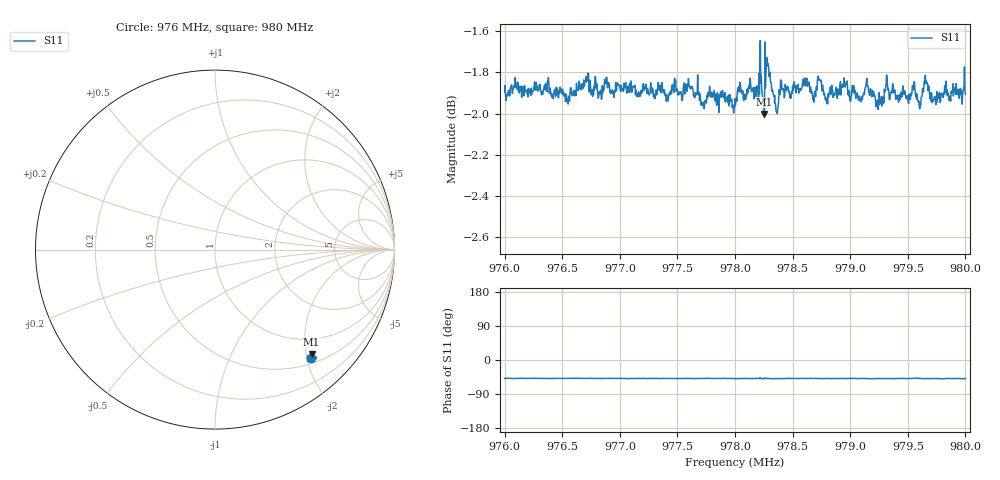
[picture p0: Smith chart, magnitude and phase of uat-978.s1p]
! Calibrated averaged scanner-service zoom
# Hz S RI R 50
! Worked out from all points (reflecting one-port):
!   1001 points, 976 MHz to 980 MHz, reference 50 ohm
!   lowest |S11| = -2.0 dB at 978.256 MHz (marker M1), VSWR 8.71, Z = 33.3 - j105 ohm
!   phase of S11 starts at -49 deg and turns -0 deg over the sweep
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9.76e8  0.5323 -0.6026
9.765e8  0.529 -0.6043
9.77e8  0.5345 -0.6038
9.77072e8  0.5262 -0.6078
9.775e8  0.5309 -0.6055
9.77676e8  0.531 -0.6139
9.77736e8  0.529 -0.5977
9.77796e8  0.5267 -0.6073
9.78e8  0.5226 -0.6069
9.78184e8  0.5271 -0.6042
9.78208e8  0.5384 -0.6083
9.78256e8  0.5379 -0.5842
9.7828e8  0.543 -0.6088
9.7836e8  0.5198 -0.6017
9.785e8  0.5342 -0.6043
9.78732e8  0.5361 -0.607
9.78792e8  0.5302 -0.6009
9.78956e8  0.5317 -0.6059
9.79e8  0.5296 -0.5994
9.7916e8  0.527 -0.6073
9.79244e8  0.5239 -0.5995
9.79316e8  0.5338 -0.6114
9.795e8  0.5248 -0.6068
9.79568e8  0.5383 -0.5946
9.7962e8  0.5261 -0.6049
9.79652e8  0.5318 -0.6131
9.79732e8  0.5265 -0.605
9.8e8  0.5278 -0.6051
